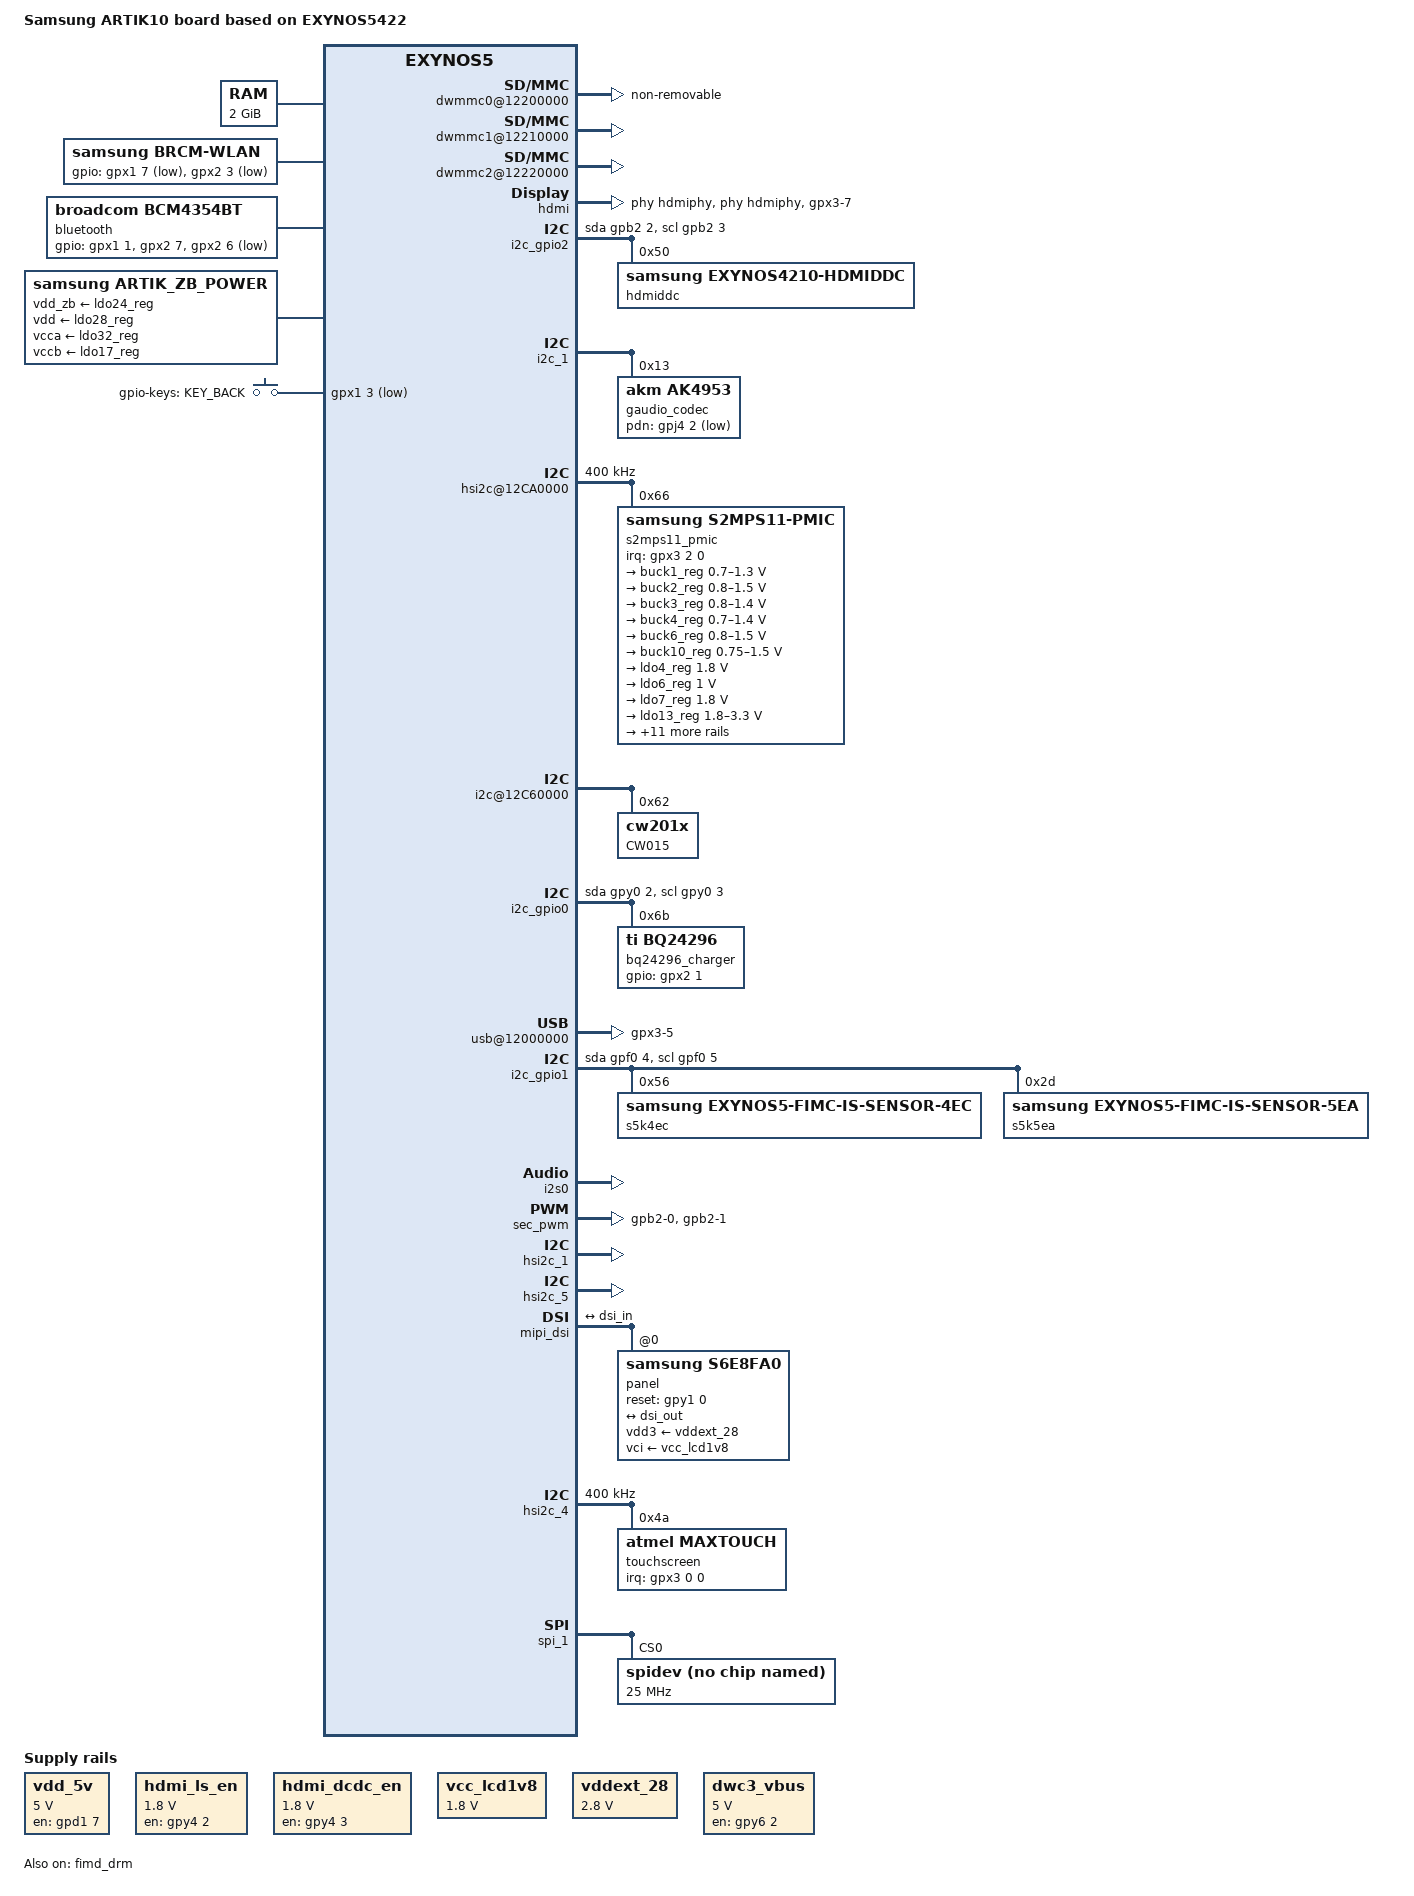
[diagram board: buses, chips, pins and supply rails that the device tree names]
/*
 * SAMSUNG ARTIK10 board device tree source
 *
 * Copyright (c) 2015 Samsung Electronics Co., Ltd.
 *             http://www.samsung.com
 *
 * This program is free software; you can redistribute it and/or modify
 * it under the terms of the GNU General Public License version 2 as
 * published by the Free Software Foundation.
*/

/dts-v1/;
#include "exynos5422_evt0.dtsi"

/ {
	model = "Samsung ARTIK10 board based on EXYNOS5422";
	compatible = "samsung,artik10", "samsung,exynos5422", "samsung,exynos5";

	memory {
		reg = <0x40000000 0x80000000>;
	};

	aliases {
		i2c11 = &i2c_gpio0;
		i2c12 = &i2c_gpio1;
		i2c13 = &i2c_gpio2;
	};

	chosen {
		bootargs = "console=ttySAC3,115200 vmalloc=512M ess_setup=0x46000000";
	};

	fixed-rate-clocks {
		oscclk {
			compatible = "samsung,exynos5422-oscclk";
			clock-frequency = <24000000>;
		};
	};

	rtc {
		status = "okay";
	};

	dwmmc0@12200000 {
		status = "okay";
		num-slots = <1>;
		non-removable;
		broken-cd;
		bypass-smu;
		fixed_volt;
		clock-gate;
		enable-cclk-on-suspend;
		extra_tuning;
		supports-highspeed;
		supports-hs200-1-8v-mode;
		error-retry;
		enable-cache-control;
		supports-poweroff-notification;
		use-fine-tuning;
		sw_data_timeout;
		fifo-depth = <0x40>;
		card-detect-delay = <200>;
		qos_int_level = <222000>;
		samsung,dw-mshc-ciu-div = <3>;
		samsung,dw-mshc-sdr-timing = <3 0 4 0>;
		samsung,dw-mshc-ddr-timing = <3 0 2 0>;
		samsung,dw-mshc-hs200-timing = <3 0 2 0>;
		samsung,dw-mshc-ddr200-timing = <1 1 2 0>;
		clk_pin = "gpc0-0";
		clk_addr = "13410000.pinctrl";
		clk_val = <0x3>;
		clk_str_num = <4>;
		num-ref-clks = <8>;
		ciu_clkin = <20812500 41625000 41625000 83250000 166500000
			     83250000 166500000 333000000>;
		pinctrl-names = "default";
		pinctrl-0 = <&sd0_clk &sd0_cmd &sd0_rdqs &sd0_bus1 &sd0_bus4
			     &sd0_bus8>;

		slot@0 {
			reg = <0>;
			bus-width = <8>;
		};
	};

	dwmmc1@12210000 {
		status = "okay";
		num-slots = <1>;
		channel = <1>;
		caps-control;
		bypass-smu;
		clock-gate;
		use-fine-tuning;
		enable-cclk-on-suspend;
		fixed_volt;
		supports-highspeed;
		sw_data_timeout;
		keep-power-in-suspend;
		pm-ignore-notify;
		cd-type-external;
		cd-type = <2>;
		use-broken-voltage;
		fifo-depth = <0x40>;
		card-detect-delay = <200>;
		qos_int_level = <222000>;
		samsung,dw-mshc-ciu-div = <3>;
		samsung,dw-mshc-sdr-timing = <3 0 3 0>;
		samsung,dw-mshc-ddr-timing = <3 0 2 0>;
		clk_pin = "gpc1-0";
		clk_addr = "13410000.pinctrl";
		clk_val = <0x3>;
		clk_str_num = <4>;
		num-ref-clks = <8>;
		ciu_clkin = <25000000 50000000 50000000 100000000 200000000 100000000 200000000 400000000>;
		pinctrl-names = "default";
		pinctrl-0 = <&sd1_clk &sd1_cmd &sd1_bus1 &sd1_bus4>;

		slot@0 {
			reg = <0>;
			bus-width = <4>;
			disable-wp;
		};
	};

	dwmmc2@12220000 {
		status = "okay";
		num-slots = <1>;
		supports-highspeed;
		cd-type = <1>;
		sw_data_timeout;
		use-fine-tuning;
		ignore-phase = <(1 << 7)>;
		fifo-depth = <0x40>;
		card-detect-delay = <200>;
		qos_int_level = <222000>;
		samsung,dw-mshc-ciu-div = <3>;
		samsung,dw-mshc-sdr-timing = <3 0 4 0>;
		samsung,dw-mshc-ddr-timing = <3 0 2 0>;
		clk_pin = "gpc2-0";
		clk_addr = "13410000.pinctrl";
		clk_val = <0x1>;
		clk_str_num = <4>;
		num-ref-clks = <8>;
		ciu_clkin = <20812500 41625000 41625000 83250000 166500000
			     83250000 166500000 333000000>;
		pinctrl-names = "default";
		pinctrl-0 = <&sd2_clk &sd2_cmd &sd2_cd &sd2_bus1 &sd2_bus4>;

		slot@0 {
			reg = <0>;
			bus-width = <4>;
			disable-wp;
		};
	};

	pinctrl@13400000 {
		pmic_irq: pmic-irq {
			samsung,pins = "gpx3-2";
			samsung,pin-pud = <3>;
			samsung,pin-drv = <3>;
		};

		cfg_wlanen: cfg-wlanen {
			samsung,pins = "gpx1-7";
			samsung,pin-function = <1>;
			samsung,pin-pud = <0>;
			samsung,pin-drv = <3>;
			samsung,pin-con-pdn = <3>;
			samsung,pin-pud-pdn = <0>;
		};

		cfg_wlanhostwake: cfg-wlanhostwake {
			samsung,pins = "gpx2-3";
			samsung,pin-function = <0>;
			samsung,pin-pud = <1>;
			samsung,pin-con-pdn = <2>;
			samsung,pin-pud-pdn = <0>;
		};

		cfg_en: cfg-en {
			samsung,pins ="gpx1-1";
			samsung,pin-function = <1>;
			samsung,pin-pud = <1>;
			samsung,pin-con-pdn = <3>;
			samsung,pin-pud-pdn = <1>;
		};

		cfg_hostwake: cfg-hostwake {
			samsung,pins = "gpx2-6";
			samsung,pin-function = <0>;
			samsung,pin-pud = <2>;
			samsung,pin-con-pdn = <2>;
			samsung,pin-pud-pdn = <0>;
		};

		cfg_btwake: cfg-btwake {
			samsung,pins = "gpx2-7";
			samsung,pin-function = <1>;
			samsung,pin-pud = <1>;
			samsung,pin-con-pdn = <0>;
			samsung,pin-pud-pdn = <1>;
		};

		chg_irq: chg-irq {
			samsung,pins = "gpx2-1";
			samsung,pin-function = <0xf>;
			samsung,pin-pud = <3>;
			samsung,pin-drv = <3>;
		};

		key_pullup: key-pullup {
			samsung,pins = "gpx1-3";
			samsung,pin-pud = <3>;
			samsung,pin-pud-pdn = <3>;
		};

		touchpanel_irq: touchpanel-irq {
			samsung,pins = "gpx3-0";
			samsung,pin-function = <0xf>;
			samsung,pin-pud = <3>;
			samsung,pin-drv = <0>;
		};
	};

	pinctrl@13410000 {
		zb_rstn: zb-rstn {
			samsung,pins = "gpd1-1";
			samsung,pin-function = <1>;
			samsung,pin-pud = <0>;
			samsung,pin-val = <1>;
			samsung,pin-con-pdn = <2>;
			samsung,pin-pud-pdn = <1>;
		};
	};

	pinctrl@14010000 {
		pwm0_out: pwm0-out {
			samsung,pins = "gpb2-0";
			samsung,pin-function = <2>;
			samsung,pin-pud = <3>;
			samsung,pin-drv = <0>;
		};

		pwm1_out: pwm1-out {
			samsung,pins = "gpb2-1";
			samsung,pin-function = <2>;
			samsung,pin-pud = <3>;
			samsung,pin-drv = <0>;
		};

		zb_bootloader: zb-bootloader {
			samsung,pins = "gph0-7";
			samsung,pin-function = <1>;
			samsung,pin-pud = <0>;
			samsung,pin-val = <1>;
			samsung,pin-con-pdn = <2>;
			samsung,pin-pud-pdn = <1>;
		};
	};

	wlan {
		compatible = "samsung,brcm-wlan";
		gpios = <&gpx1 7 0x1	/* WLAN_EN */
			 &gpx2 3 0xF	/* WLAN_HOST_WAKE */
			>;
		pinctrl-names = "default";
		pinctrl-0=<&cfg_wlanen &cfg_wlanhostwake>;
		status = "okay";
	};

	serial@12C20000 {
		force-auto-flow-control;
	};

	bluetooth {
		compatible = "broadcom,bcm4354bt";

		gpios = <&gpx1 1 0	/* BT_EN */
			 &gpx2 7 0	/* BT_WAKE */
			 &gpx2 6 0xF	/* BT_HOST_WAKE */
			 >;

		pinctrl-names = "default";
		pinctrl-0=<&cfg_hostwake &cfg_btwake &cfg_en>;
		status = "okay";
	};

	regulators {
                compatible = "simple-bus";
                #address-cells = <1>;
                #size-cells = <0>;

                vdd_5v: voltage-regulator-0 {
                        compatible = "regulator-fixed";
                        regulator-name = "VDD_5V";
                        regulator-min-microvolt = <5000000>;
                        regulator-max-microvolt = <5000000>;
                        gpio = <&gpd1 7 0>;
                        enable-active-high;
                        regulator-always-on;
                };

                hdmi_ls_en: voltage-regulator-1 {
                        compatible = "regulator-fixed";
                        regulator-name = "HDMI_LS_EN";
                        regulator-min-microvolt = <1800000>;
                        regulator-max-microvolt = <1800000>;
                        gpio = <&gpy4 2 0>;
                        enable-active-high;
                        regulator-always-on;
                };

                hdmi_dcdc_en: voltage-regulator-2 {
                        compatible = "regulator-fixed";
                        regulator-name = "HDMI_DCDC_EN";
                        regulator-min-microvolt = <1800000>;
                        regulator-max-microvolt = <1800000>;
                        gpio = <&gpy4 3 0>;
                        enable-active-high;
                        regulator-always-on;
                };

		vcc_lcd1v8: voltage-regulator-3 {
                        compatible = "regulator-fixed";
			regulator-name = "VCC_LCD1V8";
                        regulator-min-microvolt = <1800000>;
                        regulator-max-microvolt = <1800000>;
		};

		vddext_28: voltage-regulator-4 {
                        compatible = "regulator-fixed";
			regulator-name = "VDDEXT_28";
                        regulator-min-microvolt = <2800000>;
                        regulator-max-microvolt = <2800000>;
		};
        };

	hdmiphy: hdmiphy@145D0000 {
		compatible = "exynos4412-phy";
		reg = <0x145D0000 0x20>;
		#phy-cells = <1>;
	};

	pinctrl@13400000 {
		hdmi_hpd_irq: hdmi-hpd-irq {
			samsung,pins = "gpx3-7";
			samsung,pin-function = <0>;
			samsung,pin-pud = <1>;
		};
	};

	hdmi: hdmi@14530000 {
		compatible = "samsung,exynos5420-hdmi";
		reg = <0x14530000 0x70000>;
		interrupts = <0 95 0>;
		samsung,power-domain = <&pd_disp1>;
		clock-names = "hdmi", "sclk_hdmi", "sclk_pixel",
				"sclk_hdmiphy", "mout_hdmi";
		clocks = <&clock 1323>, <&clock 1059>, <&clock 1058>,
			 <&clock 28>, <&clock 2108>;
		phy = <&hdmiphy>;
		samsung,syscon-phandle = <&pmu_system_controller>;
		phys = <&hdmiphy 0>;
		phy-names = "hdmiphy";
		hpd-gpio = <&gpx3 7 0>;
		pinctrl-names = "default";
		pinctrl-0 = <&hdmi_hpd_irq>;
		ddc = <&i2c_gpio2>;

		vdd_osc-supply = <&ldo7_reg>;
		vdd_pll-supply = <&ldo6_reg>;
		vdd-supply = <&hdmi_dcdc_en>;
		hdmi-en-supply = <&hdmi_ls_en>;
		hdmi_5v-supply = <&vdd_5v>;

		status = "okay";
	};

	mixer: mixer@14450000 {
		compatible = "samsung,exynos5420-mixer";
		reg = <0x14450000 0x1000>;
		interrupts = <0 94 0>;
		samsung,power-domain = <&pd_disp1>;
		clock-names = "mixer", "hdmi", "sclk_hdmi";
		clocks = <&clock 1324>, <&clock 1323>, <&clock 1059>;
	};

	i2c_gpio2: i2c@50 {
		compatible = "i2c-gpio";
		gpios = <&gpb2 2 0 &gpb2 3 0>;
		i2c-gpio,delay-us = <2>;    /* ~100kHz */
		#address-cells = <1>;
		#size-cells = <0>;
		status = "okay";

		hdmiddc@50 {
			compatible = "samsung,exynos4210-hdmiddc";
			reg = <0x50>;
		};
	};

	i2c_1: i2c@12C70000 {
		#address-cells = <1>;
		#size-cells = <0>;
		samsung,i2c-max-bus-freq = <400000>;
		status = "okay";

		gaudio_codec: ak4953@13 {
			compatible = "akm,ak4953";
			reg = <0x13>;
			ak4953,pdn-gpio = <&gpj4 2 0x1>;
		};
	};

	hsi2c@12CA0000 {
		samsung,hs-mode;
		clock-frequency = <400000>;
		status = "okay";

		s2mps11_pmic@66 {
			compatible = "samsung,s2mps11-pmic";
			reg = <0x66>;
			interrupts = <2 0 0>;
			interrupt-parent = <&gpx3>;
			pinctrl-names = "default";
			pinctrl-0 = <&pmic_irq>;
			/* RTC: wtsr/smpl */
			wtsr_en = <1>; /* enable */
			smpl_en = <1>; /* enable */
			wtsr_timer_val = <3>;   /* 1000ms */
			smpl_timer_val = <0>;   /* 500ms */
			check_jigon = <0>; /* do not check jigon */
			/* RTC: If it's first boot, reset rtc to 1/1/2014 12:00:00(Wed) */
			init_time,sec = <0>;
			init_time,min = <0>;
			init_time,hour = <12>;
			init_time,mday = <1>;
			init_time,mon = <0>;
			init_time,year = <114>;
			init_time,wday = <3>;

			regulators {
				buck1_reg: BUCK1 {
					regulator-name = "vdd_mif";
					regulator-min-microvolt = <700000>;
					regulator-max-microvolt = <1300000>;
					regulator-always-on;
					regulator-boot-on;
					regulator-ramp-delay = <12000>;
					regulator-initial-mode = <1>;
				};

				buck2_reg: BUCK2 {
					regulator-name = "vdd_eagle";
					regulator-min-microvolt = <800000>;
					regulator-max-microvolt = <1500000>;
					regulator-always-on;
					regulator-boot-on;
					regulator-ramp-delay = <12000>;
					regulator-initial-mode = <1>;
				};

				buck3_reg: BUCK3 {
					regulator-name = "vdd_int";
					regulator-min-microvolt = <800000>;
					regulator-max-microvolt = <1400000>;
					regulator-always-on;
					regulator-boot-on;
					regulator-ramp-delay = <12000>;
					regulator-initial-mode = <1>;
				};

				buck4_reg: BUCK4 {
					regulator-name = "vdd_g3d";
					regulator-min-microvolt = <700000>;
					regulator-max-microvolt = <1400000>;
					regulator-always-on;
					regulator-boot-on;
					regulator-ramp-delay = <12000>;
					regulator-initial-mode = <1>;
				};

				buck6_reg: BUCK6 {
					regulator-name = "vdd_kfc";
					regulator-min-microvolt = <800000>;
					regulator-max-microvolt = <1500000>;
					regulator-always-on;
					regulator-boot-on;
					regulator-ramp-delay = <12000>;
					regulator-initial-mode = <1>;
				};

				buck10_reg: BUCK10 {
					regulator-name = "vdd_cam_isp_1.0v";
					regulator-min-microvolt = <750000>;
					regulator-max-microvolt = <1500000>;
					regulator-always-on;
					regulator-boot-on;
					regulator-ramp-delay = <12000>;
					regulator-initial-mode = <1>;
				};

				ldo4_reg: LDO4 {
					regulator-name = "vdd_adc";
					regulator-min-microvolt = <1800000>;
					regulator-max-microvolt = <1800000>;
					regulator-always-on;
					regulator-boot-on;
					regulator-ramp-delay = <12000>;
					regulator-initial-mode = <1>;
				};

				ldo6_reg: LDO6 {
					regulator-name = "vdd_ldo6";
					regulator-min-microvolt = <1000000>;
					regulator-max-microvolt = <1000000>;
					regulator-always-on;
					regulator-initial-mode = <1>;
				};

				ldo7_reg: LDO7 {
					regulator-name = "vdd_ldo7";
					regulator-min-microvolt = <1800000>;
					regulator-max-microvolt = <1800000>;
					regulator-always-on;
					regulator-initial-mode = <1>;
				};

				ldo13_reg: LDO13 {
					regulator-name = "vqmmc";
					regulator-min-microvolt = <1800000>;
					regulator-max-microvolt = <3300000>;
					regulator-boot-on;
					regulator-ramp-delay = <12000>;
					regulator-initial-mode = <1>;
				};

				ldo17_reg: LDO17 {
					regulator-name = "vdd_ldo17";
					regulator-min-microvolt = <2800000>;
					regulator-max-microvolt = <2800000>;
					regulator-initial-mode = <1>;
				};

				ldo18_reg: LDO18 {
					regulator-name = "vdd_ldo18";
					regulator-min-microvolt = <1800000>;
					regulator-max-microvolt = <1800000>;
					regulator-always-on;
					regulator-initial-mode = <3>;
				};

				ldo19_reg: LDO19 {
					regulator-name = "vmmc";
					regulator-min-microvolt = <1800000>;
					regulator-max-microvolt = <1800000>;
					regulator-always-on;
					regulator-initial-mode = <1>;
				};

				ldo20_reg: LDO20 {
					regulator-name = "vdd_ldo20";
					regulator-min-microvolt = <1800000>;
					regulator-max-microvolt = <1800000>;
					regulator-always-on;
					regulator-initial-mode = <3>;
				};

				ldo23_reg: LDO23 {
					regulator-name = "vdd_mifs";
					regulator-min-microvolt = <800000>;
					regulator-max-microvolt = <1100000>;
					regulator-always-on;
					regulator-initial-mode = <1>;
					regulator-ramp-delay = <12000>;
				};

				ldo24_reg: LDO24 {
					regulator-name = "vdd_ldo24";
					regulator-min-microvolt = <2400000>;
					regulator-max-microvolt = <2400000>;
					regulator-initial-mode = <1>;
				};

				ldo25_reg: LDO25 {
					regulator-name = "vdd_ldo25";
					regulator-min-microvolt = <1800000>;
					regulator-max-microvolt = <1800000>;
					regulator-always-on;
				};

				ldo27_reg: LDO27 {
					regulator-name = "vdd_g3ds";
					regulator-min-microvolt = <800000>;
					regulator-max-microvolt = <1100000>;
					regulator-always-on;
					regulator-initial-mode = <1>;
					regulator-ramp-delay = <12000>;
				};

				ldo28_reg: LDO28 {
					regulator-name = "vdd_ldo28";
					regulator-min-microvolt = <2800000>;
					regulator-max-microvolt = <2800000>;
					regulator-initial-mode = <1>;
				};

				ldo32_reg: LDO32 {
					regulator-name = "vdd_lcd_1v8";
					regulator-min-microvolt = <1800000>;
					regulator-max-microvolt = <1800000>;
					regulator-initial-mode = <1>;
				};

				ldo38_reg: LDO38 {
					regulator-name = "vdd_ldo38";
					regulator-min-microvolt = <2800000>;
					regulator-max-microvolt = <2800000>;
					regulator-always-on;
					regulator-initial-mode = <1>;
				};

			};
		};
	};

	pinctrl@13400000 {
		b_sess0_irq: b-sess0-irq {
			samsung,pins = "gpx0-7";
			samsung,pin-function = <0xf>;
			samsung,pin-pud = <0>;
		};

		id0_irq: id0-irq {
			samsung,pins = "gpx3-5";
			samsung,pin-function = <0xf>;
			samsung,pin-pud = <3>;
			samsung,pin-con-pdn = <2>;
			samsung,pin-pud-pdn = <0>;
		};
	};

	i2c@12C60000 {
		#address-cells = <1>;
		#size-cells = <0>;
		samsung,i2c-max-bus-freq = <100000>;
		status = "okay";

		CW015@62 {
			compatible = "cw201x";
			reg = <0x62>;

			bat_config_info = <0x17 0x67 0x6C 0x70 0x70 0x6F 0x6A 0x65 0x62 0x5B
					   0x55 0x4F 0x4A 0x46 0x43 0x3D 0x35 0x2B 0x26 0x22
					   0x21 0x2B 0x42 0x4D 0x49 0x49 0x0B 0x85 0x09 0x12
					   0x1D 0x3A 0x47 0x44 0x43 0x4B 0x39 0x17 0x37 0x48
					   0x04 0x16 0x52 0x87 0x8F 0x91 0x94 0x52 0x82 0x8C
					   0x92 0x96 0x81 0x6B 0xC0 0xCB 0x2F 0x7D 0x72 0xA5
					   0xB5 0xC1 0x6A 0x09>;

			is_dc_charge = <1>;
			is_usb_charge = <0>;
		};
	};

	i2c_gpio0: i2c@6b {
		compatible = "i2c-gpio";
		gpios = <&gpy0 2 0 /* sda */
			&gpy0 3 0 /* scl */
			>;
		i2c-gpio,delay-us = <2>;        /* ~100kHz */
		#address-cells = <1>;
		#size-cells = <0>;
		status = "okay";

		bq24296_charger@6b {
			compatible = "ti,bq24296";
			reg = <0x6b>;
			ti,chg_current = <1000 1500 2000>;
			gpios = <&gpx2 1 0>;
			pinctrl-names = "default";
			pinctrl-0 = <&chg_irq>;
		};
	};

	pinctrl@14000000 {
		fimc_is_flash: fimc-is-flash {
			samsung,pins = "gpe0-3", "gpe0-2";
			samsung,pin-function = <2>;
			samsung,pin-pud = <0>;
			samsung,pin-drv = <0>;
		};

		codec_ctl_1: codec-ctl {
			samsung,pins = "gpj4-2";
			samsung,pin-con-pdn = <3>;
		};
	};

	dwc3_vbus: fixedregulator@0 {
		compatible = "regulator-fixed";
		regulator-name = "VUSB_BOOST_5V";
		regulator-min-microvolt = <5000000>;
		regulator-max-microvolt = <5000000>;
		gpio = <&gpy6 2 1>;
		enable-active-high;
	};

	usb@12000000 {
		dwc3-vbus-supply = <&dwc3_vbus>;
		samsung,bsess-gpio = <&gpx0 7 0xf>;
		pinctrl-names = "default";
		pinctrl-0 = <&b_sess0_irq>;
		samsung,id-gpio = <&gpx3 5 0xf>;
		pinctrl-names = "default";
		pinctrl-0 = <&id0_irq>;
		status = "okay";

		dwc3 {
			maximum-speed = "super-speed";
			dr_mode = "otg";
		};
	};

	slp_multi: slp_multi {
		compatible = "slp,slp_multi";
		slp,slp_mult-nluns = <2>;
		slp,slp_mult-swfi-latency = <1>;
		slp,slp_mult-nfuncs = <4>;
		slp,slp_mult-enable-funcs = "rndis", "sdb", "mtp", "acm";
	};

	spi_0: spi@12d20000 {
		status = "disabled";
	};

	spi_2: spi@12d40000 {
		status = "disabled";
	};

	i2c_gpio1: i2c@2d {
		compatible = "i2c-gpio";
		gpios = <&gpf0 4 0 &gpf0 5 0>;
		i2c-gpio,delay-us = <0>;    /* Max Speed */
		#address-cells = <1>;
		#size-cells = <0>;
		status = "okay";

		s5k4ec@56 {
			compatible = "samsung,exynos5-fimc-is-sensor-4ec";
			reg = <0x56>;
		};

		s5k5ea@2d {
			compatible = "samsung,exynos5-fimc-is-sensor-5ea";
			reg = <0x2d>;
		};
	};

	/* CAMIF0 - MIPI-CSIS0, FIMC-Lite0 driver */
	fimc_is_sensor0: fimc_is_sensor@13C00000 {
		scenario = <0>;
		gpio_reset = <&gpe0 1 0x1>;
		gpios_cam_en = <&gph0 2 0x1>;
		gpio_flash = <&gph0 3 0x1>;
		id = <0>;
		mclk_ch = <0>;
		csi_ch = <0>;
		flite_ch = <0>;
		i2c_ch = <0x000>; 		/* actuator i2c channel changed to CH 0 */
		i2c_addr = <0x1820>;
		flash_first_gpio = <2>;		/* XISPGP2,GPE0_2,CAM_GPIO[2] */
		flash_second_gpio = <3>;	/* XISPGP3,GPE0_3,CAM_GPIO[3] */
		is_bns = <1>;
		status = "okay";
	};

	/* CAMIF1 - MIPI-CSIS1, FIMC-Lite1 driver */
	fimc_is_sensor1: fimc_is_sensor@13C10000 {
		scenario = <2>;
		gpio_reset = <&gpe0 4 0x1>;
		gpios_cam_en = <&gph0 1 0x1>;
		id = <1>;
		mclk_ch = <1>;
		csi_ch = <1>;
		flite_ch = <1>;
		i2c_ch = <0x2>;
		i2c_addr = <0x2D>;
		is_bns = <0>;
		status = "okay";
	};

	/* FIMC-IS driver */
	fimc_is@13000000 {
		fixed_sensor_id = <14>;
		fimc_is_dvfs {
			default_int = <600000>; /* L0 */
			default_cam = <666000>; /* L0 */
			default_mif = <825000>; /* L0 */
			default_i2c = <0>;

			front_preview_int = <460000>; /* L1-2 */
			front_preview_cam = <333000>; /* L3 */
			front_preview_mif = <413000>; /* L4 */
			front_preview_i2c = <0>;

			front_capture_int = <460000>; /* L1-2 */
			front_capture_cam = <333000>; /* L3 */
			front_capture_mif = <413000>; /* L4 */
			front_capture_i2c = <0>;

			front_camcording_int = <460000>; /* L1-2 */
			front_camcording_cam = <333000>; /* L3 */
			front_camcording_mif = <413000>; /* L4 */
			front_camcording_i2c = <0>;

			front_vt1_int = <460000>; /* L1-2 */
			front_vt1_cam = <333000>; /* L3 */
			front_vt1_mif = <413000>; /* L4 */
			front_vt1_i2c = <0>;

			front_vt2_int = <460000>; /* L1-2 */
			front_vt2_cam = <333000>; /* L3 */
			front_vt2_mif = <413000>; /* L4 */
			front_vt2_i2c = <0>;

			rear_preview_fhd_int = <480000>; /* L1-1 */
			rear_preview_fhd_cam = <444000>; /* L2 */
			rear_preview_fhd_mif = <543000>; /* L3 */
			rear_preview_fhd_i2c = <0>;

			rear_preview_whd_int = <600000>; /* L0 */
			rear_preview_whd_cam = <666000>; /* L0 */
			rear_preview_whd_mif = <825000>; /* L0 */
			rear_preview_whd_i2c = <0>;

			rear_preview_uhd_int = <600000>; /* L0 */
			rear_preview_uhd_cam = <666000>; /* L0 */
			rear_preview_uhd_mif = <825000>; /* L0 */
			rear_preview_uhd_i2c = <0>;

			rear_capture_int = <600000>; /* L0 */
			rear_capture_cam = <666000>; /* L0 */
			rear_capture_mif = <825000>; /* L0 */
			rear_capture_i2c = <0>;

			rear_camcording_fhd_int = <500000>; /* L1 */
			rear_camcording_fhd_cam = <444000>; /* L2 */
			rear_camcording_fhd_mif = <633000>; /* L2 */
			rear_camcording_fhd_i2c = <0>;

			rear_camcording_uhd_int = <600000>; /* L0 */
			rear_camcording_uhd_cam = <666000>; /* L0 */
			rear_camcording_uhd_mif = <825000>; /* L0 */
			rear_camcording_uhd_i2c = <0>;

			dual_preview_int = <600000>; /* L0 */
			dual_preview_cam = <666000>; /* L0 */
			dual_preview_mif = <728000>; /* L1 */
			dual_preview_i2c = <0>;

			dual_capture_int = <600000>; /* L0 */
			dual_capture_cam = <666000>; /* L0 */
			dual_capture_mif = <825000>; /* L0 */
			dual_capture_i2c = <0>;

			dual_camcording_int = <600000>; /* L0 */
			dual_camcording_cam = <666000>; /* L0 */
			dual_camcording_mif = <825000>; /* L0 */
			dual_camcording_i2c = <0>;

			high_speed_fps_int = <600000>; /* L0 */
			high_speed_fps_cam = <666000>; /* L0 */
			high_speed_fps_mif = <825000>; /* L0 */
			high_speed_fps_i2c = <0>;

			dis_enable_int = <600000>; /* L0 */
			dis_enable_cam = <666000>; /* L0 */
			dis_enable_mif = <825000>; /* L0 */
			dis_enable_i2c = <0>;

			max_int = <600000>; /* L0 */
			max_cam = <666000>; /* L0 */
			max_mif = <825000>; /* L0 */
			max_i2c = <0>;
		};
	};

	ion {
		compatible = "samsung,exynos5430-ion";

		contig-names = "common",
			       "mfc_sh",
			       "g2d_wfd",
			       "video",
			       "sectbl",
			       "mfc_fw",
			       "mfc_nfw",
			       "secdma";

		contig = <0 0x6650000 0x0>,
		         <2 0x100000 0x0>,
		         <10 0x800000 0x0>,
		         <11 0x6C00000 0x0>,
		         <9 0x100000 0x0>,
		         <8 0x100000 0x0>,
		         <12 0x100000 0x0>,
		         <13 0x20000 0x0>;

		contig-isolate_on_boot = <2>, <8>,
					  <9>, <10>, <11>, <12>, <13>;

		ion_noncontig_heap {
			id-type = <0 0>;
		};

		exynos_contig_heap {
			id-type = <4 6>;
		};
	};

	i2s0: i2s@03830000 {
		status = "okay";
	};

	sound {
		compatible = "samsung,artik-ak4953";
		clocks = <&clock 5316>;         /* fout_epll */
		clock-names = "fout_epll";
		samsung,i2s-controller = <&i2s0>;
		samsung,audio-codec = <&gaudio_codec>;
		samsung,audio-cpu = <&i2s0      /* primary */
				     &i2s0>;    /* secondary */
		status = "okay";
	};

	artik_zb_power {
		compatible = "samsung,artik_zb_power";
		pinctrl-names = "default";
		pinctrl-0 = <&zb_rstn &zb_bootloader>;
		vdd_zb-supply = <&ldo24_reg>;
		vdd-supply = <&ldo28_reg>;
		vcca-supply = <&ldo32_reg>;
		vccb-supply = <&ldo17_reg>;
	};

	gpio_keys {
		compatible = "gpio-keys";
		#address-cells = <1>;
		#size-cells = <0>;
		poll-interval = <100>;
		pinctrl-names = "default";
		pinctrl-0 = <&key_pullup>;
		/*Temporary changing for ARTIK to exit app using power key*/
		button@1 {
                        label = "gpio-keys: KEY_BACK";
                        interrupts = <3 0 0>;
                        interrupt-parent = <&gpx1>;
                        linux,code = <158>;
                        gpios = <&gpx1 3 0xf>;
                        gpio-key,wakeup = <1>;
                };
		/*
		Original Power key mapping code
		button@1 {
			label = "gpio-keys: KEY_POWER";
			interrupts = <3 0 0>;
			interrupt-parent = <&gpx1>;
			linux,code = <116>;
			gpios = <&gpx1 3 0xf>;
			gpio-key,wakeup = <1>;
		};
		*/
	};

	input_booster {
		status = "okay";
		compatible = "input_booster";
		#address-cells = <1>;
		#size-cells = <0>;

		booster_key@1 {
			input_booster,label = "TOUCH";
			input_booster,type = <0>;	/* BOOSTER_DEVICE_TOUCH */

			input_booster,levels = <1 2 3 4 5 9 10>;

			/* Frequency table */
			/* for level : 1_Head, 2_Tail, 3_Head, 4_Head/Tail, 5_Head, 9_Head, 9_Tail */
			input_booster,cpu_freqs = <1600000 0 0 0 1200000 1900000 1600000>;
			input_booster,hmp_boost = <1 0 0 0 1 1 1>;
			input_booster,kfc_freqs = <1000000 1200000 1300000 1300000 800000 1300000 1300000>;
			input_booster,mif_freqs = <633000 413000 413000 633000 633000 825000 825000>;
			input_booster,int_freqs = <333000 110000 111000 111000 333000 400000 400000>;

			/* Time table */
			input_booster,head_times = <130 130 130 130 100 500 0>;
			input_booster,tail_times = <500 500 500 200 500 1000 0>;
			input_booster,phase_times = <0 0 0 0 40 0 0>;
		};
		/* If you need to add new key type, add it this position */
	};
};

&sec_pwm {
	status = "okay";
	pinctrl-names = "default";
	pinctrl-0 = <&pwm0_out>, <&pwm1_out>;
};

&hsi2c_1 {
	status = "okay";
};

&hsi2c_5 {
	status = "okay";
};

&mipi_dsi {
	vddcore-supply = <&ldo6_reg>;
	vddio-supply = <&ldo7_reg>;
	samsung,pll-clock-frequency = <24000000>;
	#address-cells = <1>;
	#size-cells = <0>;

	status = "okay";

	ports {
		#address-cells = <1>;
		#size-cells = <0>;

		port@1 {
			reg = <1>;

			dsi_out: endpoint {
				remote-endpoint = <&dsi_in>;
				samsung,burst-clock-frequency = <552000000>;
				samsung,esc-clock-frequency = <7000000>;
			};
		};
	};

	panel@0 {
		compatible = "samsung,s6e8fa0";
		reg = <0>;
		vdd3-supply = <&vddext_28>;
		vci-supply = <&vcc_lcd1v8>;
		reset-gpio = <&gpy1 0 0>;
		power-on-delay= <50>;
		reset-delay = <100>;
		init-delay = <100>;
		flip-horizontal;
		flip-vertical;
		panel-width-mm = <62>;
		panel-height-mm = <110>;

		display-timings {
			timings0 {
				clock-frequency = <130361520>;
				hactive = <1080>;
				vactive = <1920>;
				hfront-porch = <32>;
				hback-porch = <16>;
				hsync-len = <12>;
				vfront-porch = <12>;
				vback-porch = <3>;
				vsync-len = <1>;
			};
		};

		port {
			dsi_in: endpoint {
				remote-endpoint = <&dsi_out>;
			};
		};
	};
};

&fimd_drm {
	status = "okay";
	samsung,mic-bypass;
};

&hsi2c_4 {
	samsung,hs-mode;
	clock-frequency = <400000>;
	status = "okay";

	touchscreen@4a {
		compatible = "atmel,maxtouch";
		reg = <0x4a>;
		interrupt-parent = <&gpx3>;
		interrupts = <0 0 0>;
		pinctrl-names = "default";
		pinctrl-0 = <&touchpanel_irq>;
		skip-cfg-load;
		switch-xy;
	};
};

&spi_1 {
	status = "okay";
	#address-cells = <1>;
	#size-cells = <0>;

	spidev@0 {
		compatible = "spidev";
		reg = <0x0>;
		spi-max-frequency = <25000000>;

		controller-data {
			cs-gpio = <&gpy7 1 0>;
			samsung,spi-feedback-delay = <0x2>;
			samsung,spi-chip-select-mode;
		};
	};
};
